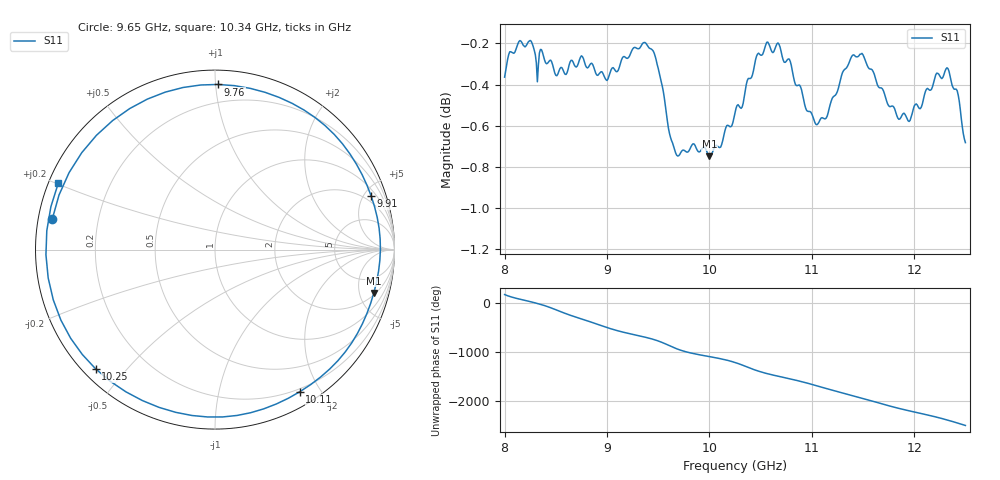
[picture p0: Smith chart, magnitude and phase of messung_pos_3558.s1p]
#  HZ  S  RI  R  50.00
! Rohde & Schwarz Vector Network Analyzer
! Rohde-Schwarz,ZNA43-4Port,1332450044101932,2.92
! Created: UTC 6/1/2026, 11:35:12 AM
! freq[Hz]  re:S11  im:S11
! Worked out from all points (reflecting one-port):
!   451 points, 8 GHz to 12.5 GHz, reference 50 ohm
!   lowest |S11| = -0.7 dB at 10 GHz (marker M1), VSWR 23.19, Z = 111 - j337 ohm
!   phase of S11 starts at 165 deg and turns -2659 deg over the sweep
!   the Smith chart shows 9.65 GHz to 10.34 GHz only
!   S11 on the Smith chart (normalised r, x): 9.65 GHz: 0.04, +0.09; 9.76 GHz: 0.08, +1.01; 9.91 GHz: 1.46, +5.64; 10.11 GHz: 0.17, -1.75; 10.25 GHz: 0.04, -0.41; 10.34 GHz: 0.03, +0.20
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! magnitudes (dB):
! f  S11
! 8 GHz  -0.4
! 8.15 GHz  -0.2
! 8.57 GHz  -0.3
! 8.75 GHz  -0.3
! 9 GHz  -0.4
! 9.13 GHz  -0.3
! 9.36 GHz  -0.2
! 9.45 GHz  -0.2
! 9.65 GHz  -0.7
! 9.69 GHz  -0.7
! 9.76 GHz  -0.7
! 9.91 GHz  -0.7
! 10 GHz  -0.7
! 10.11 GHz  -0.7
! 10.25 GHz  -0.5
! 10.34 GHz  -0.5
! 10.56 GHz  -0.2
! 10.68 GHz  -0.2
! 10.82 GHz  -0.4
! 11.05 GHz  -0.6
! 11.14 GHz  -0.6
! 11.38 GHz  -0.3
! 11.49 GHz  -0.2
! 11.75 GHz  -0.5
! 11.94 GHz  -0.6
! 12.32 GHz  -0.3
! 12.42 GHz  -0.4
! 12.5 GHz  -0.7
